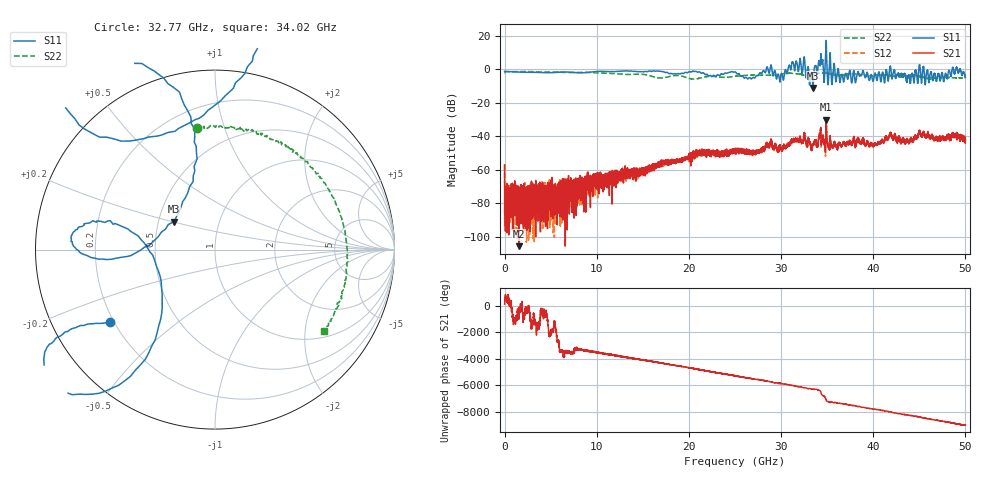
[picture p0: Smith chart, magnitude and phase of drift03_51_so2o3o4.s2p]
!Created with skrf (http://scikit-rf.org).
# Hz S RI R 50.0
!freq ReS11 ImS11 ReS21 ImS21 ReS12 ImS12 ReS22 ImS22
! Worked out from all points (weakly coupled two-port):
!   10001 points, 300 kHz to 50 GHz, reference 50 ohm
!   highest |S21| = -30.00 dB at 34.9 GHz (marker M1); lowest = -105.5 dB at 1.59 GHz (marker M2)
!   lowest |S11| = -11.2 dB at 33.47 GHz (marker M3), VSWR 1.76, Z = 30.2 + j10.2 ohm
!   |S11| at or under -10 dB: 33.4492 GHz to 33.4829 GHz (33.69 MHz wide, 0.101 % of centre)
!   |S22| runs from -5.9 to -1.3 dB; largest |S21 - S12| = 0.008
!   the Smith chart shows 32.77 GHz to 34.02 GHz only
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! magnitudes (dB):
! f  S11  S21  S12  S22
! 300 kHz  -1.3  -57.0  -56.9  -2.0
! 260.3 MHz  -1.3  -89.8  -74.9  -1.4
! 1.59 GHz  -1.7  -105.5  -70.7  -1.4
! 5.615 GHz  -1.9  -77.7  -86.2  -1.7
! 8.335 GHz  -2.2  -72.3  -72.7  -1.9
! 16.67 GHz  -1.1  -56.3  -56.7  -5.2
! 21.11 GHz  -1.6  -49.0  -50.2  -5.4
! 25 GHz  -1.5  -49.9  -48.5  -4.2
! 26.92 GHz  -4.9  -48.6  -49.8  -3.6
! 28.73 GHz  -2.2  -47.0  -46.0  -3.5
! 30.06 GHz  -2.5  -47.7  -47.9  -2.9
! 31.87 GHz  -1.4  -42.2  -41.7  -2.9
! 33.34 GHz  -2.2  -47.8  -47.0  -2.9
! 33.47 GHz  -11.2  -44.7  -45.2  -2.8
! 34.3 GHz  7.8  -35.3  -35.3  -2.3
! 34.9 GHz  15.9  -30.0  -32.5  -2.3
! 36.58 GHz  -3.4  -45.7  -46.2  -3.6
! 40.17 GHz  -2.6  -44.6  -44.1  -3.7
! 41.67 GHz  -5.4  -40.9  -40.3  -3.7
! 47.06 GHz  -2.7  -42.4  -42.3  -5.0
! 49.21 GHz  -2.2  -40.9  -40.2  -5.1
! 50 GHz  -4.9  -42.4  -41.9  -5.0
